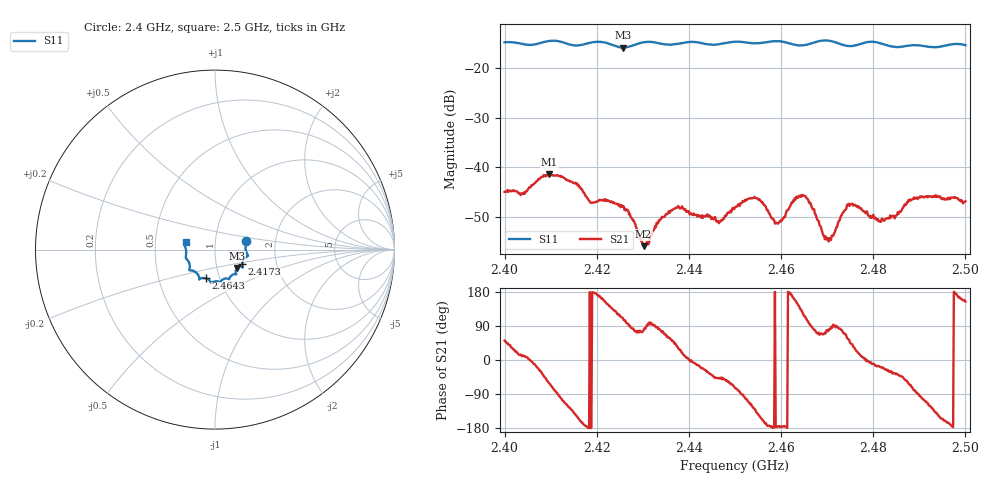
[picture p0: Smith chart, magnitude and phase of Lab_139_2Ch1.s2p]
# Hz S RI R 50
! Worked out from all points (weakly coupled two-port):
!   601 points, 2.4 GHz to 2.5 GHz, reference 50 ohm
!   highest |S21| = -41.44 dB at 2.4097 GHz (marker M1); lowest = -55.9 dB at 2.4302 GHz (marker M2)
!   lowest |S11| = -15.9 dB at 2.4257 GHz (marker M3), VSWR 1.38, Z = 62.4 - j13.1 ohm
!   |S11| at or under -10 dB: start of sweep to end of sweep
!   S12 and S22 are empty: the file has one direction only
!   S11 on the Smith chart (normalised r, x): 2.4 GHz: 1.41, +0.14; 2.4173 GHz: 1.34, -0.23; 2.4643 GHz: 0.86, -0.28; 2.5 GHz: 0.72, +0.06
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2.4e9  0.1736 0.0494  0.00353 0.00442  0 0  0 0
2.404e9  0.1715 0.025  0.00526 0.00112  0 0  0 0
2.409667e9  0.1834 -0.0313  0.00411 -0.00741  0 0  0 0
2.416667e9  0.1525 -0.0748  -0.00584 -0.00162  0 0  0 0
2.417333e9  0.152 -0.0823  -0.00538 -0.000772  0 0  0 0
2.418833e9  0.1533 -0.0943  -0.00438 -4.47e-05  0 0  0 0
2.425667e9  0.1224 -0.1024  -0.00142 0.00373  0 0  0 0
2.430167e9  0.118 -0.1368  0.000327 0.00157  0 0  0 0
2.433333e9  0.1127 -0.1367  0.000407 0.00271  0 0  0 0
2.437333e9  0.0853 -0.1509  0.00313 0.00235  0 0  0 0
2.446333e9  0.0446 -0.1662  0.00192 -0.00216  0 0  0 0
2.45e9  0.0296 -0.1807  0.00113 -0.00379  0 0  0 0
2.4545e9  0.00587 -0.1762  -0.0034 -0.00352  0 0  0 0
2.459167e9  -0.0223 -0.1842  -0.00271 -0.000212  0 0  0 0
2.464333e9  -0.0502 -0.1601  -0.00342 0.00369  0 0  0 0
2.466667e9  -0.076 -0.1595  0.000145 0.00396  0 0  0 0
2.470333e9  -0.0871 -0.1657  0.000291 0.00177  0 0  0 0
2.474833e9  -0.1048 -0.1279  0.00258 0.00315  0 0  0 0
2.481167e9  -0.1422 -0.1083  0.00274 -0.000787  0 0  0 0
2.483333e9  -0.1404 -0.0895  0.00264 -0.00152  0 0  0 0
2.490333e9  -0.1624 -0.0396  -0.000634 -0.00496  0 0  0 0
2.5e9  -0.1639 0.0418  -0.00409 0.00198  0 0  0 0
